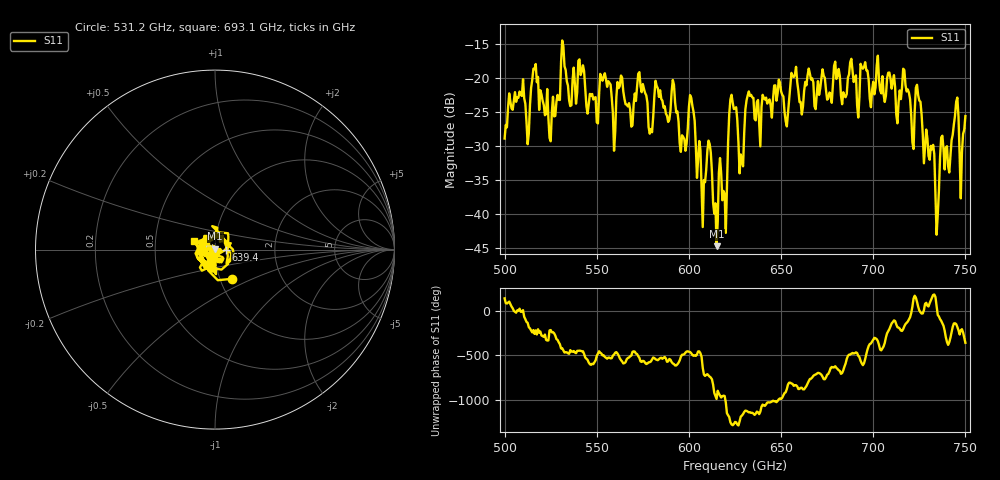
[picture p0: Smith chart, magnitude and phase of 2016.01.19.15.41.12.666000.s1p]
!Created with skrf (http://scikit-rf.org).
# GHz S RI R 50.0
!freq ReS11 ImS11
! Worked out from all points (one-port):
!   401 points, 500 GHz to 750 GHz, reference 50 ohm
!   lowest |S11| = -44.8 dB at 615 GHz (marker M1), VSWR 1.01, Z = 50 + j0.578 ohm
!   |S11| at or under -10 dB: start of sweep to end of sweep
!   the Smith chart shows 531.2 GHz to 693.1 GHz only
!   S11 on the Smith chart (normalised r, x): 531.2 GHz: 1.14, -0.39; 639.4 GHz: 1.13, +0.00; 693.1 GHz: 0.79, +0.08
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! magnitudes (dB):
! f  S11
! 500 GHz  -28.9
! 508.8 GHz  -22.5
! 512.5 GHz  -29.8
! 516.9 GHz  -18.0
! 525.6 GHz  -25.1
! 531.2 GHz  -14.5
! 559.4 GHz  -30.7
! 562.5 GHz  -21.2
! 593.8 GHz  -24.9
! 601.2 GHz  -22.9
! 607.5 GHz  -41.9
! 611.2 GHz  -29.7
! 615 GHz  -44.8
! 619.4 GHz  -37.1
! 622.5 GHz  -23.2
! 625 GHz  -24.5
! 628.1 GHz  -31.3
! 632.5 GHz  -22.0
! 639.4 GHz  -24.3
! 656.2 GHz  -19.7
! 687.5 GHz  -17.7
! 693.1 GHz  -17.9
! 718.8 GHz  -21.7
! 724.4 GHz  -22.6
! 735 GHz  -40.1
! 745 GHz  -23.5
! 748.1 GHz  -31.0
! 750 GHz  -25.6
